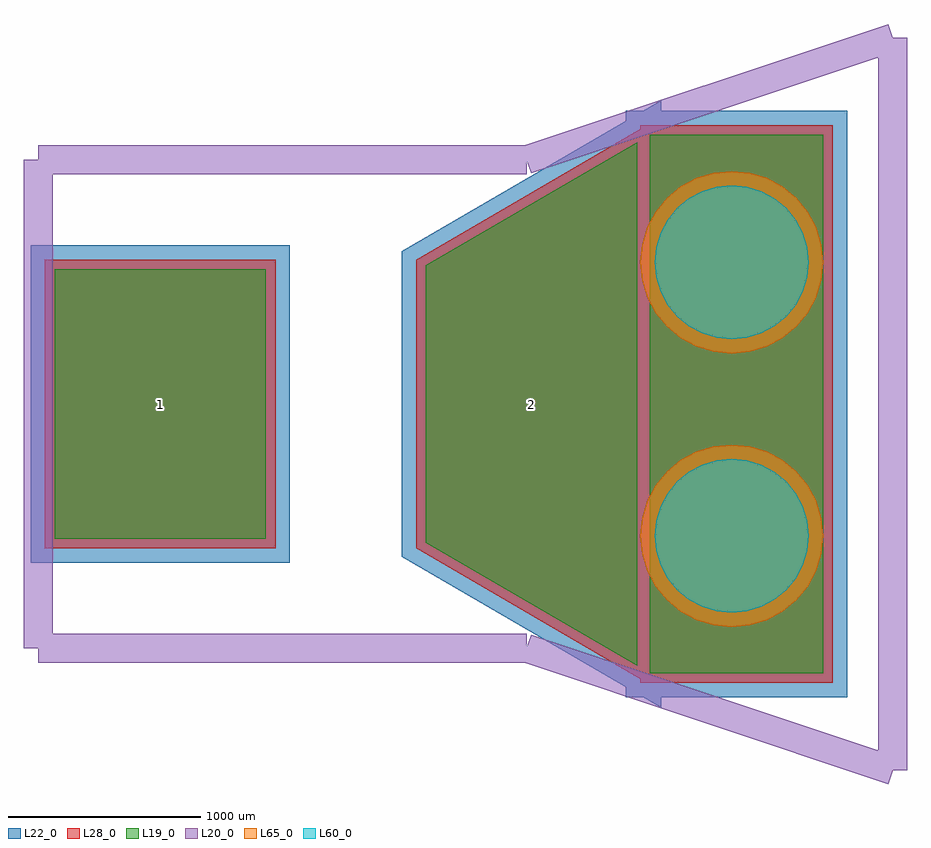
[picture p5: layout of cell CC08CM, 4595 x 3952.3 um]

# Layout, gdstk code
import gdstk
lib = gdstk.Library(unit=1e-6, precision=1e-09)
def R(c, l, rs):  # rectangles x0, y0, x1, y1
    for r in rs: c.add(gdstk.rectangle(r[:2], r[2:], *l))
def P(c, l, *ps):  # polygons
    for p in ps: c.add(gdstk.Polygon(p, *l))
L19_0 = (19, 0)
L20_0 = (20, 0)
L22_0 = (22, 0)
L28_0 = (28, 0)
L60_0 = (60, 0)
L65_0 = (65, 0)

cc08cm = lib.new_cell('CC08CM')
R(cc08cm, L19_0, [(1276.82,-1400.34,2177.58,1400.34), (-1819.44,-700.57,-720.56,700.57)])
P(cc08cm, L19_0, [(110.96,-721.834),(110.96,721.834),(1209.84,1362.071),(1209.84,-1362.071)])
R(cc08cm, L22_0, [(1151.82,-1525.34,2302.58,1525.34), (-1944.44,-825.57,-595.56,825.57)])
P(cc08cm, L22_0, [(2176.85,-685.8),(2167.722,-593.122),(2140.689,-504.006),(2096.79,-421.876),(2037.711,-349.889),(1965.724,-290.81),(1883.594,-246.911),(1794.478,-219.878),(1701.8,-210.75),(1609.122,-219.878),(1520.006,-246.911),(1437.876,-290.81),(1365.889,-349.889),(1306.81,-421.876),(1262.911,-504.006),(1235.878,-593.122),(1226.75,-685.8),(1235.878,-778.478),(1262.911,-867.594),(1306.81,-949.724),(1365.889,-1021.711),(1437.876,-1080.79),(1520.006,-1124.689),(1609.122,-1151.722),(1701.8,-1160.85),(1794.478,-1151.722),(1883.594,-1124.689),(1965.724,-1080.79),(2037.711,-1021.711),(2096.79,-949.724),(2140.689,-867.594),(2167.722,-778.478)],
  [(2176.85,736.6),(2167.722,829.278),(2140.689,918.394),(2096.79,1000.524),(2037.711,1072.511),(1965.724,1131.59),(1883.594,1175.489),(1794.478,1202.522),(1701.8,1211.65),(1609.122,1202.522),(1520.006,1175.489),(1437.876,1131.59),(1365.889,1072.511),(1306.81,1000.524),(1262.911,918.394),(1235.878,829.278),(1226.75,736.6),(1235.878,643.922),(1262.911,554.806),(1306.81,472.676),(1365.889,400.689),(1437.876,341.61),(1520.006,297.711),(1609.122,270.678),(1701.8,261.55),(1794.478,270.678),(1883.594,297.711),(1965.724,341.61),(2037.711,400.689),(2096.79,472.676),(2140.689,554.806),(2167.722,643.922)],
  [(-14.04,-793.674),(-14.04,793.674),(1334.84,1579.568),(1334.84,-1579.568)])
R(cc08cm, L28_0, [(1226.82,-1450.34,2227.58,1450.34), (-1869.44,-750.57,-670.56,750.57)])
P(cc08cm, L28_0, [(2101.85,-685.8),(2094.163,-607.754),(2071.398,-532.707),(2034.429,-463.544),(1984.678,-402.922),(1924.056,-353.171),(1854.893,-316.202),(1779.846,-293.437),(1701.8,-285.75),(1623.754,-293.437),(1548.707,-316.202),(1479.544,-353.171),(1418.922,-402.922),(1369.171,-463.544),(1332.202,-532.707),(1309.437,-607.754),(1301.75,-685.8),(1309.437,-763.846),(1332.202,-838.893),(1369.171,-908.056),(1418.922,-968.678),(1479.544,-1018.429),(1548.707,-1055.398),(1623.754,-1078.163),(1701.8,-1085.85),(1779.846,-1078.163),(1854.893,-1055.398),(1924.056,-1018.429),(1984.678,-968.678),(2034.429,-908.056),(2071.398,-838.893),(2094.163,-763.846)],
  [(2101.85,736.6),(2094.163,814.646),(2071.398,889.693),(2034.429,958.856),(1984.678,1019.478),(1924.056,1069.229),(1854.893,1106.198),(1779.846,1128.963),(1701.8,1136.65),(1623.754,1128.963),(1548.707,1106.198),(1479.544,1069.229),(1418.922,1019.478),(1369.171,958.856),(1332.202,889.693),(1309.437,814.646),(1301.75,736.6),(1309.437,658.554),(1332.202,583.507),(1369.171,514.344),(1418.922,453.722),(1479.544,403.971),(1548.707,367.002),(1623.754,344.237),(1701.8,336.55),(1779.846,344.237),(1854.893,367.002),(1924.056,403.971),(1984.678,453.722),(2034.429,514.344),(2071.398,583.507),(2094.163,658.554)],
  [(60.96,-750.57),(60.96,750.57),(1259.84,1449.07),(1259.84,-1449.07)])
P(cc08cm, L60_0, [(2101.85,-685.8),(2094.163,-607.754),(2071.398,-532.707),(2034.429,-463.544),(1984.678,-402.922),(1924.056,-353.171),(1854.893,-316.202),(1779.846,-293.437),(1701.8,-285.75),(1623.754,-293.437),(1548.707,-316.202),(1479.544,-353.171),(1418.922,-402.922),(1369.171,-463.544),(1332.202,-532.707),(1309.437,-607.754),(1301.75,-685.8),(1309.437,-763.846),(1332.202,-838.893),(1369.171,-908.056),(1418.922,-968.678),(1479.544,-1018.429),(1548.707,-1055.398),(1623.754,-1078.163),(1701.8,-1085.85),(1779.846,-1078.163),(1854.893,-1055.398),(1924.056,-1018.429),(1984.678,-968.678),(2034.429,-908.056),(2071.398,-838.893),(2094.163,-763.846)],
  [(2101.85,736.6),(2094.163,814.646),(2071.398,889.693),(2034.429,958.856),(1984.678,1019.478),(1924.056,1069.229),(1854.893,1106.198),(1779.846,1128.963),(1701.8,1136.65),(1623.754,1128.963),(1548.707,1106.198),(1479.544,1069.229),(1418.922,1019.478),(1369.171,958.856),(1332.202,889.693),(1309.437,814.646),(1301.75,736.6),(1309.437,658.554),(1332.202,583.507),(1369.171,514.344),(1418.922,453.722),(1479.544,403.971),(1548.707,367.002),(1623.754,344.237),(1701.8,336.55),(1779.846,344.237),(1854.893,367.002),(1924.056,403.971),(1984.678,453.722),(2034.429,514.344),(2071.398,583.507),(2094.163,658.554)])
P(cc08cm, L65_0, [(2176.85,-685.8),(2167.722,-593.122),(2140.689,-504.006),(2096.79,-421.876),(2037.711,-349.889),(1965.724,-290.81),(1883.594,-246.911),(1794.478,-219.878),(1701.8,-210.75),(1609.122,-219.878),(1520.006,-246.911),(1437.876,-290.81),(1365.889,-349.889),(1306.81,-421.876),(1262.911,-504.006),(1235.878,-593.122),(1226.75,-685.8),(1235.878,-778.478),(1262.911,-867.594),(1306.81,-949.724),(1365.889,-1021.711),(1437.876,-1080.79),(1520.006,-1124.689),(1609.122,-1151.722),(1701.8,-1160.85),(1794.478,-1151.722),(1883.594,-1124.689),(1965.724,-1080.79),(2037.711,-1021.711),(2096.79,-949.724),(2140.689,-867.594),(2167.722,-778.478)],
  [(2176.85,736.6),(2167.722,829.278),(2140.689,918.394),(2096.79,1000.524),(2037.711,1072.511),(1965.724,1131.59),(1883.594,1175.489),(1794.478,1202.522),(1701.8,1211.65),(1609.122,1202.522),(1520.006,1175.489),(1437.876,1131.59),(1365.889,1072.511),(1306.81,1000.524),(1262.911,918.394),(1235.878,829.278),(1226.75,736.6),(1235.878,643.922),(1262.911,554.806),(1306.81,472.676),(1365.889,400.689),(1437.876,341.61),(1520.006,297.711),(1609.122,270.678),(1701.8,261.55),(1794.478,270.678),(1883.594,297.711),(1965.724,341.61),(2037.711,400.689),(2096.79,472.676),(2140.689,554.806),(2167.722,643.922)])
cc08cm.add(gdstk.FlexPath([(-1905,-1270),(635,-1270)], 149.998, ends="flush", simple_path=True, layer=20, datatype=0))  # L20_0
cc08cm.add(gdstk.FlexPath([(635,1270),(-1905,1270)], 149.998, ends="flush", simple_path=True, layer=20, datatype=0))  # L20_0
cc08cm.add(gdstk.FlexPath([(2540,1905),(635,1270)], 149.998, ends="flush", simple_path=True, layer=20, datatype=0))  # L20_0
cc08cm.add(gdstk.FlexPath([(2540,-1905),(2540,1905)], 149.998, ends="flush", simple_path=True, layer=20, datatype=0))  # L20_0
cc08cm.add(gdstk.FlexPath([(635,-1270),(2540,-1905)], 149.998, ends="flush", simple_path=True, layer=20, datatype=0))  # L20_0
cc08cm.add(gdstk.FlexPath([(-1905,1270),(-1905,-1270)], 149.998, ends="flush", simple_path=True, layer=20, datatype=0))  # L20_0
cc08cm.add(gdstk.Label('2', (660.4,0), layer=28, texttype=0))
cc08cm.add(gdstk.Label('1', (-1270,0), layer=28, texttype=0))
cc08cm.add(gdstk.Label('type', (0,-2540), layer=9, texttype=0))
cc08cm.add(gdstk.Label('devicename', (-127,2540), layer=9, texttype=0))

lib.write_gds('CC08CM.gds')
